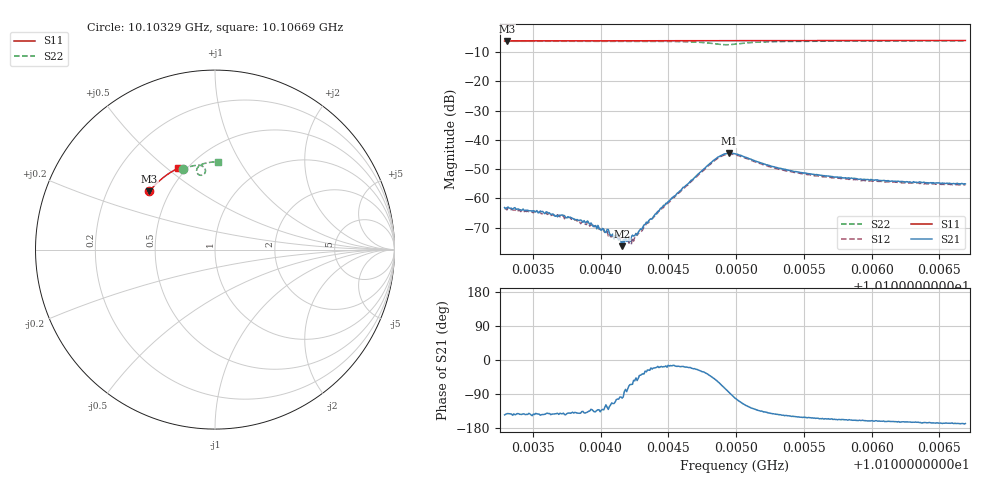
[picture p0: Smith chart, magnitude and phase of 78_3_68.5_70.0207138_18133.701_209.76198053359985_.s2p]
#  HZ  S  RI  R  50.00
! Rohde & Schwarz Vector Network Analyzer
! Rohde-Schwarz,ZNB20-2Port,1311601062101988,3.16
! Created: UTC 3/20/2024, 4:52:02 PM
! freq[Hz]  re:S11  im:S11  re:S21  im:S21  re:S12  im:S12  re:S22  im:S22
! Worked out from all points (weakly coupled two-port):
!   401 points, 10.10329 GHz to 10.10669 GHz, reference 50 ohm
!   highest |S21| = -44.57 dB at 10.10495 GHz (marker M1); lowest = -76.3 dB at 10.10416 GHz (marker M2)
!   lowest |S11| = -6.2 dB at 10.10331 GHz (marker M3), VSWR 2.92, Z = 19.3 + j16.5 ohm
!   |S11| at or under -10 dB: nowhere
!   |S22| runs from -7.5 to -6.2 dB; largest |S21 - S12| = 0.00059
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1.0103293e10  -0.3669 0.3238  -0.000568 -0.000403  -0.000502 -0.000426  -0.1802 0.4467
1.010331e10  -0.3661 0.3245  -0.000544 -0.00043  -0.000473 -0.000423  -0.1792 0.4471
1.010359e10  -0.3552 0.3377  -0.000439 -0.000329  -0.000425 -0.000348  -0.1616 0.4545
1.0103666e10  -0.3521 0.3412  -0.000391 -0.000304  -0.000394 -0.000371  -0.1566 0.4564
1.0103717e10  -0.3501 0.3435  -0.000409 -0.000323  -0.00034 -0.000333  -0.1532 0.4576
1.0103785e10  -0.3474 0.3465  -0.000355 -0.000304  -0.000302 -0.000318  -0.1487 0.4593
1.0103862e10  -0.3443 0.3499  -0.0003 -0.000289  -0.000258 -0.000293  -0.1436 0.4609
1.0103964e10  -0.3399 0.3544  -0.000248 -0.000238  -0.000204 -0.000275  -0.1363 0.4631
1.010404e10  -0.3367 0.3579  -0.000125 -0.000233  -0.000139 -0.00022  -0.1309 0.4649
1.0104159e10  -0.3315 0.363  -2.77e-05 -0.00015  -1.22e-05 -0.000176  -0.1219 0.4671
1.010421e10  -0.3294 0.3652  8.21e-05 -0.000201  7.21e-05 -0.000156  -0.1179 0.468
1.0104227e10  -0.3287 0.3659  9.54e-05 -0.000198  0.000106 -0.000126  -0.1166 0.4682
1.0104287e10  -0.3261 0.3684  0.000213 -0.000184  0.000206 -0.000157  -0.1116 0.4691
1.0104431e10  -0.3197 0.3746  0.00057 -0.000208  0.000604 -0.000137  -0.0985 0.4707
1.0104822e10  -0.3017 0.3901  0.00298 -0.00296  0.00311 -0.00258  -0.0529 0.44
1.010489e10  -0.2985 0.3926  0.00227 -0.00493  0.0026 -0.00454  -0.0611 0.4202
1.010495e10  -0.2959 0.3948  0.000387 -0.00589  0.000837 -0.00563  -0.081 0.4139
1.0104992e10  -0.294 0.3964  -0.00106 -0.00567  -0.000492 -0.00553  -0.0939 0.4199
1.0105298e10  -0.2795 0.4078  -0.00271 -0.00202  -0.00242 -0.00212  -0.0856 0.4682
1.0105562e10  -0.2666 0.4174  -0.0023 -0.00119  -0.00211 -0.00132  -0.0626 0.4789
1.0106131e10  -0.2375 0.4361  -0.00187 -0.000609  -0.00176 -0.000762  -0.0205 0.487
1.0106692e10  -0.2078 0.4525  -0.00173 -0.000377  -0.00161 -0.000482  0.0175 0.4892
